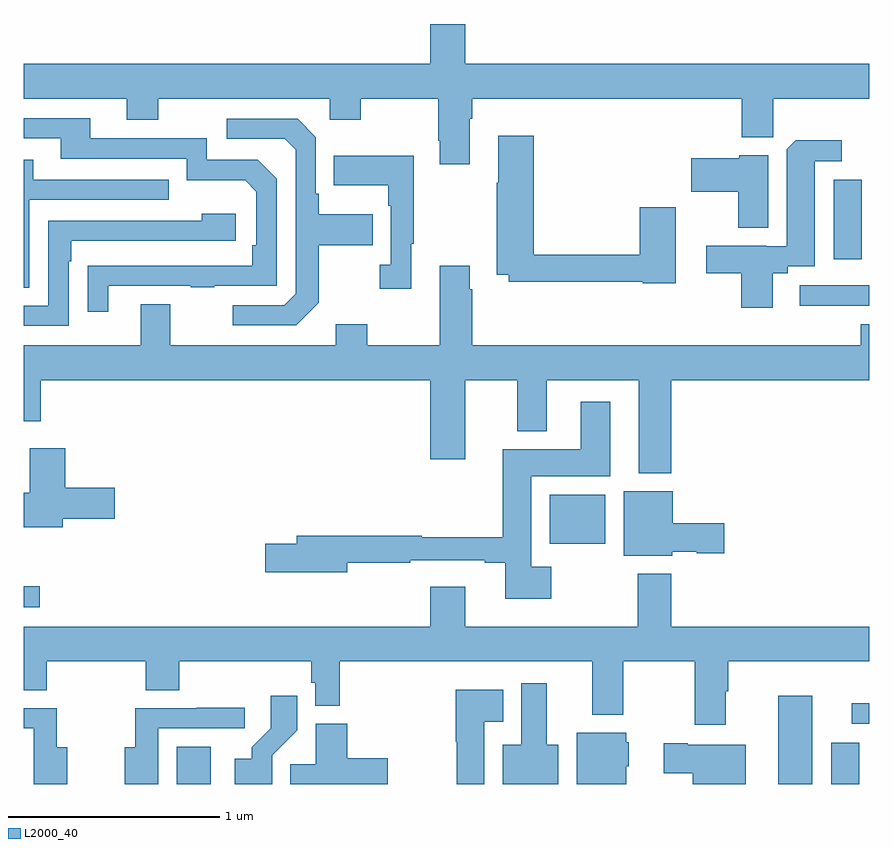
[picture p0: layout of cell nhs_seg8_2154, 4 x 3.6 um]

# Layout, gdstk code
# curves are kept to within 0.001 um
import gdstk
lib = gdstk.Library(unit=1e-6, precision=1e-09)
def R(c, l, rs):  # rectangles x0, y0, x1, y1
    for r in rs: c.add(gdstk.rectangle(r[:2], r[2:], *l))
def P(c, l, *ps):  # polygons
    for p in ps: c.add(gdstk.Polygon(p, *l))
L2000_40 = (2000, 40)

nhs_seg8_2154 = lib.new_cell('nhs_seg8_2154')
R(nhs_seg8_2154, L2000_40, [(247.724,1135.9,247.885,1136.077), (250.571,1135.9,250.732,1136.317), (250.82,1135.9,250.954,1136.095), (250.917,1136.184,251,1136.282), (247,1136.736,247.075,1136.837), (249.488,1137.038,249.751,1137.268), (250.671,1138.164,251,1138.26), (250.832,1138.383,250.966,1138.759)])
P(nhs_seg8_2154, L2000_40, [(249.109,1139.048),(249.122,1139.048),(249.122,1139.144),(250.397,1139.144),(250.397,1138.962),(250.547,1138.962),(250.547,1139.144),(251,1139.144),(251,1139.308),(249.088,1139.308),(249.088,1139.497),(248.924,1139.497),(248.924,1139.308),(247,1139.308),(247,1139.144),(247.487,1139.144),(247.487,1139.045),(247.635,1139.045),(247.635,1139.144),(248.448,1139.144),(248.448,1139.045),(248.595,1139.045),(248.595,1139.144),(248.962,1139.144),(248.962,1138.945),(248.969,1138.945),(248.969,1138.833),(249.109,1138.833)],
  [(247.399,1138.257),(247.789,1138.257),(247.789,1138.252),(247.901,1138.252),(247.901,1138.257),(248.196,1138.257),(248.196,1138.764),(248.106,1138.854),(247.866,1138.854),(247.866,1138.956),(247.315,1138.956),(247.315,1139.052),(247,1139.052),(247,1138.956),(247.175,1138.956),(247.175,1138.86),(247.77,1138.86),(247.77,1138.757),(248.047,1138.757),(248.1,1138.704),(248.1,1138.45),(248.08,1138.45),(248.08,1138.353),(247.303,1138.352),(247.303,1138.134),(247.399,1138.134)],
  [(248.395,1138.177),(248.395,1138.45),(248.651,1138.45),(248.651,1138.597),(248.395,1138.597),(248.395,1138.693),(248.382,1138.693),(248.382,1138.962),(248.295,1139.049),(247.959,1139.049),(247.959,1138.953),(248.235,1138.953),(248.286,1138.902),(248.286,1138.221),(248.232,1138.167),(247.989,1138.167),(247.989,1138.071),(248.289,1138.071)],
  [(250.084,1138.63),(249.914,1138.63),(249.914,1138.406),(249.413,1138.406),(249.413,1138.969),(249.245,1138.969),(249.245,1138.745),(249.238,1138.745),(249.238,1138.31),(249.294,1138.31),(249.294,1138.278),(249.93,1138.278),(249.93,1138.27),(250.084,1138.27)],
  [(250.543,1138.318),(250.614,1138.318),(250.614,1138.35),(250.744,1138.35),(250.744,1138.848),(250.87,1138.848),(250.87,1138.946),(250.652,1138.946),(250.61,1138.904),(250.61,1138.446),(250.23,1138.447),(250.23,1138.318),(250.396,1138.318),(250.396,1138.155),(250.543,1138.155)],
  [(250.522,1138.876),(250.386,1138.876),(250.386,1138.861),(250.158,1138.861),(250.158,1138.703),(250.382,1138.703),(250.382,1138.532),(250.522,1138.532)],
  [(248.833,1138.457),(248.845,1138.457),(248.845,1138.873),(248.467,1138.873),(248.467,1138.733),(248.724,1138.733),(248.724,1138.637),(248.736,1138.637),(248.736,1138.358),(248.685,1138.358),(248.685,1138.245),(248.833,1138.245)],
  [(247.026,1138.665),(247.685,1138.665),(247.685,1138.761),(247.045,1138.761),(247.045,1138.855),(247,1138.855),(247,1138.249),(247.026,1138.249)],
  [(247.212,1138.373),(247.225,1138.373),(247.225,1138.47),(248.002,1138.47),(248.002,1138.6),(247.841,1138.6),(247.841,1138.566),(247.116,1138.566),(247.116,1138.164),(247,1138.164),(247,1138.068),(247.212,1138.068)],
  [(250.064,1137.812),(251,1137.812),(251,1138.075),(250.961,1138.075),(250.961,1137.976),(249.122,1137.976),(249.122,1138.241),(249.109,1138.241),(249.109,1138.354),(248.969,1138.354),(248.969,1137.976),(248.625,1137.976),(248.625,1138.075),(248.477,1138.075),(248.477,1137.976),(247.693,1137.976),(247.693,1138.171),(247.553,1138.171),(247.553,1137.976),(247,1137.976),(247,1137.618),(247.079,1137.618),(247.079,1137.812),(248.924,1137.812),(248.924,1137.438),(249.088,1137.438),(249.088,1137.812),(249.335,1137.812),(249.335,1137.569),(249.475,1137.569),(249.475,1137.812),(249.911,1137.812),(249.911,1137.371),(250.064,1137.371)],
  [(249.496,1136.929),(249.4,1136.929),(249.4,1137.356),(249.775,1137.356),(249.775,1137.709),(249.635,1137.709),(249.635,1137.484),(249.266,1137.484),(249.266,1137.067),(248.882,1137.067),(248.882,1137.074),(248.291,1137.074),(248.291,1137.038),(248.142,1137.038),(248.142,1136.903),(248.53,1136.903),(248.53,1136.946),(248.828,1136.946),(248.828,1136.958),(249.182,1136.958),(249.182,1136.946),(249.278,1136.946),(249.278,1136.777),(249.496,1136.777)],
  [(247.183,1137.155),(247.429,1137.155),(247.429,1137.302),(247.196,1137.302),(247.196,1137.49),(247.028,1137.49),(247.028,1137.279),(247,1137.279),(247,1137.116),(247.183,1137.116)],
  [(250.068,1136.999),(250.185,1136.999),(250.185,1136.992),(250.315,1136.992),(250.315,1137.134),(250.072,1137.134),(250.072,1137.286),(249.839,1137.286),(249.839,1136.981),(250.068,1136.981)],
  [(250.321,1136.339),(250.334,1136.339),(250.334,1136.48),(251,1136.48),(251,1136.644),(250.064,1136.644),(250.064,1136.896),(249.904,1136.896),(249.904,1136.644),(249.088,1136.644),(249.088,1136.833),(248.924,1136.833),(248.924,1136.644),(247,1136.644),(247,1136.344),(247.107,1136.344),(247.107,1136.48),(247.576,1136.48),(247.576,1136.344),(247.736,1136.344),(247.736,1136.48),(248.359,1136.48),(248.359,1136.379),(248.379,1136.379),(248.379,1136.27),(248.495,1136.27),(248.495,1136.48),(249.689,1136.48),(249.689,1136.228),(249.837,1136.228),(249.837,1136.48),(250.174,1136.48),(250.174,1136.181),(250.321,1136.181)],
  [(249.529,1136.086),(249.475,1136.086),(249.475,1136.377),(249.353,1136.377),(249.353,1136.086),(249.266,1136.086),(249.266,1135.9),(249.529,1135.9)],
  [(249.178,1136.195),(249.268,1136.195),(249.268,1136.347),(249.044,1136.347),(249.044,1136.099),(249.049,1136.099),(249.049,1135.9),(249.178,1135.9)],
  [(248.175,1136.035),(248.294,1136.154),(248.294,1136.317),(248.169,1136.317),(248.169,1136.165),(248.078,1136.075),(248.078,1136.02),(247.998,1136.02),(247.998,1135.9),(248.175,1135.9)],
  [(247.636,1136.163),(248.044,1136.163),(248.044,1136.262),(247.819,1136.262),(247.819,1136.259),(247.527,1136.259),(247.527,1136.074),(247.478,1136.074),(247.478,1135.9),(247.636,1135.9)],
  [(247.204,1136.074),(247.156,1136.074),(247.156,1136.259),(247,1136.259),(247,1136.163),(247.046,1136.163),(247.046,1135.9),(247.204,1135.9)],
  [(248.722,1136.022),(248.531,1136.022),(248.531,1136.185),(248.381,1136.185),(248.381,1135.994),(248.26,1135.994),(248.26,1135.9),(248.722,1135.9)],
  [(249.85,1135.983),(249.862,1135.983),(249.862,1136.097),(249.85,1136.097),(249.85,1136.143),(249.617,1136.143),(249.617,1135.9),(249.85,1135.9)],
  [(250.417,1136.086),(250.141,1136.086),(250.141,1136.094),(250.029,1136.094),(250.029,1135.952),(250.166,1135.952),(250.166,1135.9),(250.417,1135.9)])

lib.write_gds('nhs_seg8_2154.gds')
